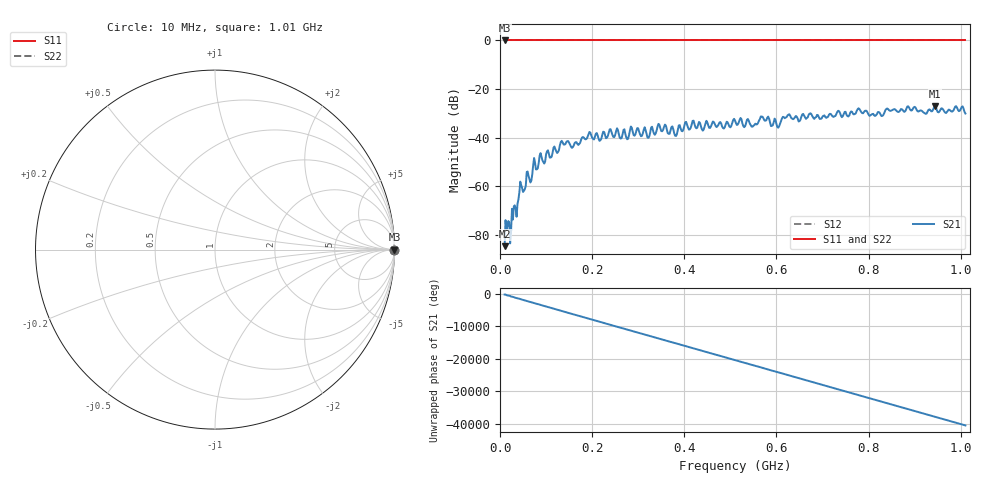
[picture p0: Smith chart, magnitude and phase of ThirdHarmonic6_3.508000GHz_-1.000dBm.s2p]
! 8/17/2025 11:28:34 AM
! C:\ANRITSUVNA\TEMP\TEMP.S2P
! CHANNEL.1
! TR.MEASUREMENT
! RAW.DATA
! RF.CORRECTION.OFF
! AVERAGING.OFF
! IF.BANDWIDTH: 5KHZ
! SWEEPTYPE:  FREQ.SWEEP(Linear)
! Reference Plane Port Info
! PORT:  PORT1  PORT2
! DISTANCE:  0  m  0  m
! TIME:  0  s  0  s
! PHASE.OFFSET:  0  deg.  0  deg.
! LOSS:  0  dB  0  dB
! REF.LOSS:  0  dB  0  dB
! REF.FREQ:  0  Hz  0  Hz
! Power Info
! POWER:  -20  dBm  -20  dBm
! EFF.POWER:  -20  dBm  -20  dBm
! SOURCE.ATTEN:  0  dB  0  dB
! TEST.ATTEN:  0  dB  0  dB
# GHZ S RI R 50.0
! FREQ.GHZ  S11RE  S11IM  S21RE  S21IM  S12RE  S12IM  S22RE  S22IM
!; PortSelection: Port_12
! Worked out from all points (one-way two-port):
!   501 points, 10 MHz to 1.01 GHz, reference 50 ohm
!   highest |S21| = -26.98 dB at 944 MHz (marker M1); lowest = -84.7 dB at 10 MHz (marker M2)
!   lowest |S11| = 0.0 dB at 10 MHz (marker M3)
!   |S11| at or under -10 dB: nowhere
!   |S22| runs from 0.0 to 0.0 dB; largest |S21 - S12| = 1
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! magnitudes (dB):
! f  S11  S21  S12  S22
! 10 MHz  0.0  -84.7  0.0  0.0
! 24 MHz  0.0  -78.4  0.0  0.0
! 44 MHz  0.0  -58.1  0.0  0.0
! 52 MHz  0.0  -61.9  0.0  0.0
! 88 MHz  0.0  -46.4  0.0  0.0
! 178 MHz  0.0  -39.9  0.0  0.0
! 240 MHz  0.0  -36.5  0.0  0.0
! 276 MHz  0.0  -40.7  0.0  0.0
! 284 MHz  0.0  -35.4  0.0  0.0
! 322 MHz  0.0  -40.1  0.0  0.0
! 344 MHz  0.0  -34.3  0.0  0.0
! 382 MHz  0.0  -39.3  0.0  0.0
! 404 MHz  0.0  -33.5  0.0  0.0
! 510 MHz  0.0  -32.9  0.0  0.0
! 548 MHz  0.0  -35.5  0.0  0.0
! 568 MHz  0.0  -31.3  0.0  0.0
! 604 MHz  0.0  -35.9  0.0  0.0
! 626 MHz  0.0  -30.5  0.0  0.0
! 678 MHz  0.0  -31.2  0.0  0.0
! 844 MHz  0.0  -28.6  0.0  0.0
! 944 MHz  0.0  -27.0  0.0  0.0
! 1.01 GHz  0.0  -30.1  0.0  0.0
